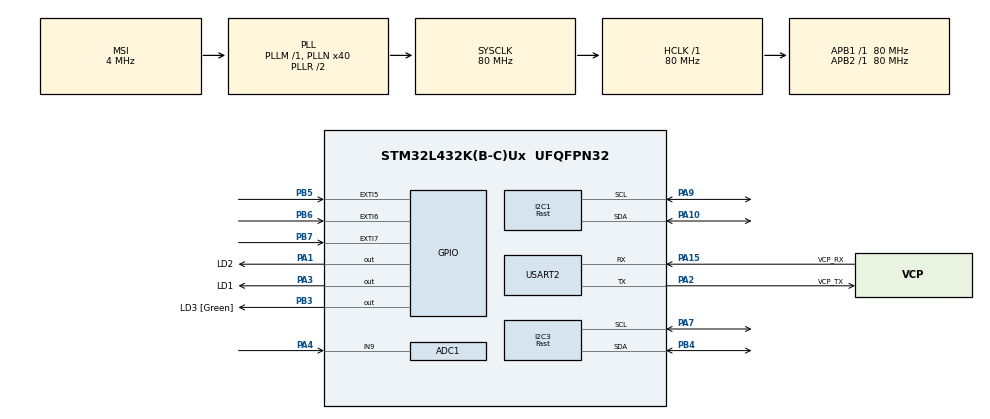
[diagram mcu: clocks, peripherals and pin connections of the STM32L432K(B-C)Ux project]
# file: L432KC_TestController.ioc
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ADC1.Channel-2\#ChannelRegularConversion=ADC_CHANNEL_9
ADC1.ClockPrescaler=ADC_CLOCK_ASYNC_DIV10
ADC1.EnableRegularConversion=ENABLE
ADC1.NbrOfConversionFlag=1
ADC1.OffsetNumber-2\#ChannelRegularConversion=ADC_OFFSET_NONE
ADC1.Rank-2\#ChannelRegularConversion=1
ADC1.SamplingTime-2\#ChannelRegularConversion=ADC_SAMPLETIME_2CYCLES_5
ADC1.master=1
Dma.Request0=USART2_RX
Dma.USART2_RX.0.Direction=DMA_PERIPH_TO_MEMORY
Dma.USART2_RX.0.Instance=DMA1_Channel6
Dma.USART2_RX.0.MemDataAlignment=DMA_MDATAALIGN_BYTE
Dma.USART2_RX.0.MemInc=DMA_MINC_ENABLE
Dma.USART2_RX.0.Mode=DMA_NORMAL
Dma.USART2_RX.0.PeriphDataAlignment=DMA_PDATAALIGN_BYTE
Dma.USART2_RX.0.PeriphInc=DMA_PINC_DISABLE
Dma.USART2_RX.0.Priority=DMA_PRIORITY_LOW
I2C1.I2C_Speed_Mode=I2C_Fast
I2C1.Timing=0x00702991
I2C3.I2C_Speed_Mode=I2C_Fast
I2C3.Timing=0x00702991
Mcu.Family=STM32L4
Mcu.Name=STM32L432K(B-C)Ux
Mcu.Package=UFQFPN32
NVIC.DMA1_Channel6_IRQn=true\:0\:0\:false\:false\:true\:false\:true\:true
NVIC.EXTI9_5_IRQn=true\:0\:0\:false\:false\:true\:true\:true\:true
NVIC.PriorityGroup=NVIC_PRIORITYGROUP_4
NVIC.USART2_IRQn=true\:0\:0\:false\:false\:true\:true\:true\:true
PA0.GPIO_Label=MCO [High speed clock in]
PA0.Mode=HSE-External-Clock-Source-for-LittleOrca
PA0.Signal=RCC_CK_IN
PA1.GPIO_Label=LD2
PA1.Signal=GPIO_Output
PA10.Mode=I2C
PA10.Signal=I2C1_SDA
PA13\ (JTMS-SWDIO).GPIO_Label=SWDIO
PA13\ (JTMS-SWDIO).Mode=Serial_Wire
PA13\ (JTMS-SWDIO).Signal=SYS_JTMS-SWDIO
PA14\ (JTCK-SWCLK).GPIO_Label=SWCLK
PA14\ (JTCK-SWCLK).Mode=Serial_Wire
PA14\ (JTCK-SWCLK).Signal=SYS_JTCK-SWCLK
PA15\ (JTDI).GPIO_Label=VCP_RX
PA15\ (JTDI).Mode=Asynchronous
PA15\ (JTDI).Signal=USART2_RX
PA2.GPIO_Label=VCP_TX
PA2.Mode=Asynchronous
PA2.Signal=USART2_TX
PA3.GPIO_Label=LD1
PA3.Signal=GPIO_Output
PA4.Signal=ADCx_IN9
PA7.Mode=I2C
PA7.Signal=I2C3_SCL
PA9.Mode=I2C
PA9.Signal=I2C1_SCL
PB3\ (JTDO-TRACESWO).GPIO_Label=LD3 [Green]
PB3\ (JTDO-TRACESWO).Signal=GPIO_Output
PB4\ (NJTRST).Mode=I2C
PB4\ (NJTRST).Signal=I2C3_SDA
PB5.Signal=GPXTI5
PB6.Signal=GPXTI6
PB7.GPIO_ModeDefaultEXTI=GPIO_MODE_IT_FALLING
PB7.GPIO_PuPd=GPIO_PULLUP
PB7.Signal=GPXTI7
PC14-OSC32_IN\ (PC14).Mode=LSE-External-Oscillator
PC14-OSC32_IN\ (PC14).Signal=RCC_OSC32_IN
PC15-OSC32_OUT\ (PC15).Mode=LSE-External-Oscillator
PC15-OSC32_OUT\ (PC15).Signal=RCC_OSC32_OUT
ProjectManager.HeapSize=0x200
ProjectManager.StackSize=0x400
ProjectManager.TargetToolchain=STM32CubeIDE
RCC.ADCFreq_Value=32000000
RCC.AHBFreq_Value=80000000
RCC.APB1Freq_Value=80000000
RCC.APB1TimFreq_Value=80000000
RCC.APB2Freq_Value=80000000
RCC.APB2TimFreq_Value=80000000
RCC.CortexFreq_Value=80000000
RCC.HCLKFreq_Value=80000000
RCC.HSE_VALUE=8000000
RCC.HSI16_VALUE=16000000
RCC.HSI48_VALUE=48000000
RCC.HSI_VALUE=16000000
RCC.MSI_VALUE=4000000
RCC.PLLMUL=RCC_PLLMUL_4
RCC.PLLN=40
RCC.PLLSAI1N=16
RCC.SYSCLKFreq_VALUE=80000000
RCC.SYSCLKSource=RCC_SYSCLKSOURCE_PLLCLK
RCC.USBFreq_Value=32000000
RCC.VCOOutputFreq_Value=160000000
SH.ADCx_IN9.0=ADC1_IN9,IN9-Single-Ended
USART2.VirtualMode-Asynchronous=VM_ASYNC
board=NUCLEO-L432KC

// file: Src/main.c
/* USER CODE BEGIN Header */
/* ========================================================================== *
 * FileName: main.c
 * Description: Main file for Click-Tester PC-Board.
 * Author: Matthias Timo Finding
 * Creation Date: Oct 6, 2023
 * Modified Date: Jan 23, 2024
 * Version: 1
 * ========================================================================== */

/* USER CODE END Header */
#include "main.h"

/* USER CODE BEGIN Includes */
#include <IO_control.h>
#include <IO_test.h>
#include <userInterface.h>
#include <stdio.h>
#include <stdbool.h>

/* USER CODE END Includes */

/* USER CODE BEGIN PD */

// UART rx buffer
char UART_RX_BUF[UART_RX_LEN];

// user interface input command
uint8_t UI_NEXT_CMD = 0;
uint8_t UI_ACT_FLAG = 0;

/* USER CODE END PD */

ADC_HandleTypeDef hadc1;

I2C_HandleTypeDef hi2c1;
I2C_HandleTypeDef hi2c3;

UART_HandleTypeDef huart2;
DMA_HandleTypeDef hdma_usart2_rx;

void SystemClock_Config(void);
static void MX_GPIO_Init(void);
static void MX_DMA_Init(void);
static void MX_USART2_UART_Init(void);
static void MX_ADC1_Init(void);
static void MX_I2C1_Init(void);
static void MX_I2C3_Init(void);
/* USER CODE BEGIN PFP */

/*--------- setup scanf/printf over UART2 (serial interface to PC) -----------*/
#ifdef __GNUC__
#define PUTCHAR_PROTOTYPE int __io_putchar(int ch)
#define GETCHAR_PROTOTYPE int __io_getchar(void)
#else
#define PUTCHAR_PROTOTYPE int fputc(int ch, FILE *f)
#define GETCHAR_PROTOTYPE int fgetc(FILE *f)
#endif

PUTCHAR_PROTOTYPE
{
  HAL_UART_Transmit(&huart2, (uint8_t *)&ch, 1, HAL_MAX_DELAY);
  return ch;
}

GETCHAR_PROTOTYPE
{
  uint8_t ch = 0;

  /* Clear the Overrun flag just before receiving the first character */
  __HAL_UART_CLEAR_OREFLAG(&huart2);

  /* Wait for reception of a character on the USART RX line and echo this
   * character on console */
  HAL_UART_Receive(&huart2, (uint8_t *)&ch, 1, HAL_MAX_DELAY);
  HAL_UART_Transmit(&huart2, (uint8_t *)&ch, 1, HAL_MAX_DELAY);
  return ch;
}
/*----------------------------------------------------------------------------*/

/* USER CODE END PFP */

int main(void)
{

  /* MCU Configuration--------------------------------------------------------*/

  /* Reset of all peripherals, Initializes the Flash interface and the Systick. */
  HAL_Init();

  /* USER CODE BEGIN Init */

  // disable stdio buffers to avoid UART miscommunications
  setvbuf(stdin, NULL, _IONBF, 0);

  /* USER CODE END Init */

  /* Configure the system clock */
  SystemClock_Config();

  /* Initialize all configured peripherals */
  MX_GPIO_Init();
  MX_DMA_Init();
  MX_USART2_UART_Init();
  MX_ADC1_Init();
  MX_I2C1_Init();
  MX_I2C3_Init();
  /* USER CODE BEGIN 2 */

	// UART receive to DMA setup

	// initial start of UART to DMA transaction
	HAL_UARTEx_ReceiveToIdle_DMA(&huart2, (uint8_t *)UART_RX_BUF, UART_RX_LEN);

	// disable half-transfer interrupt (DMA_IT_HT)
	__HAL_DMA_DISABLE_IT(&hdma_usart2_rx, DMA_IT_HT);

  /* USER CODE END 2 */

  /* Infinite loop */
  /* USER CODE BEGIN WHILE */

	// test sequence for GPIO extender evaluation
//	reset_io();
//	node_output_high(CB_L_GND_1);
//	node_output_low(CB_L_GND_1);
//	node_release(CB_L_GND_1);

	// test sequence for ADC evaluation
//	reset_io();
//	uint16_t adc_sample;
//	HAL_ADC_Start(&hadc1);
//	HAL_ADC_PollForConversion(&hadc1, 100);
//	adc_sample = HAL_ADC_GetValue(&hadc1);
//	HAL_ADC_Stop(&hadc1);
//	printf("ADC: %d\r\n", adc_sample);

	// test sequence for I2C evaluation
//	write_register(CB_L_3V3.addr, 0x04, 0xFF); // write FF to polarity inversion register
//	read_register(CB_L_3V3.addr, 0x04); // write FF to polarity inversion register
//	Error_Handler();

	// test sequence for GPIO evaluation
//	reset_io();
//	uint8_t base_address = 0b01100000;
//	node_t dummy_node = {"DUMMY", 0b00000000};
//	for(uint8_t i = 0; i<16; i++){
//		dummy_node.addr = base_address + i;
//		node_output_high(dummy_node);
//	}
//
//	for(uint8_t i = 0; i<16; i++){
//		dummy_node.addr = base_address + i;
//		node_output_low(dummy_node);
//	}
//	Error_Handler();

  // reset IO expanders
  reset_io();

  // deactivate Nucleo pwr
  node_output_low(MB_DUT_ENA);

  // print welcome message
  print_header();

	while (1)
	{

    /*-------------------------*
     *    main control loop    *
     *-------------------------*/

		if(UI_ACT_FLAG == 1){

      // reset flag
			UI_ACT_FLAG = 0;

      // execute command
			switch(UI_NEXT_CMD){

			case UI_EXEC_NUC:
        // reset error-led from previous test
        set_error_led(LED_OFF);
        // start requested test
				nuc_master_test();
        // re-start DMA-UART buffer after execution
				HAL_UARTEx_ReceiveToIdle_DMA(&huart2, (uint8_t *)UART_RX_BUF, UART_RX_LEN);
				break;

			case UI_EXEC_CB:
        // reset error-led from previous test
        set_error_led(LED_OFF);
        // start requested test
				cb_master_test();
        // re-start DMA-UART buffer after execution
				HAL_UARTEx_ReceiveToIdle_DMA(&huart2, (uint8_t *)UART_RX_BUF, UART_RX_LEN);
				break;

			case UI_EXEC_ALL:
        // reset error-led from previous test
        set_error_led(LED_OFF);
        // start requested test
				test_all();
        // re-start DMA-UART buffer after execution
				HAL_UARTEx_ReceiveToIdle_DMA(&huart2, (uint8_t *)UART_RX_BUF, UART_RX_LEN);
				break;

			default:
        // _NOP and restart DMA-UART buffer
				HAL_UARTEx_ReceiveToIdle_DMA(&huart2, (uint8_t *)UART_RX_BUF, UART_RX_LEN);
				break;
			}
		}

		/* USER CODE END WHILE */

	}
}

void SystemClock_Config(void)
{
  RCC_OscInitTypeDef RCC_OscInitStruct = {0};
  RCC_ClkInitTypeDef RCC_ClkInitStruct = {0};

  /** Configure the main internal regulator output voltage
  */
  if (HAL_PWREx_ControlVoltageScaling(PWR_REGULATOR_VOLTAGE_SCALE1) != HAL_OK)
  {
    Error_Handler();
  }

  /** Configure LSE Drive Capability
  */
  HAL_PWR_EnableBkUpAccess();
  __HAL_RCC_LSEDRIVE_CONFIG(RCC_LSEDRIVE_LOW);

  /** Initializes the RCC Oscillators according to the specified parameters
  * in the RCC_OscInitTypeDef structure.
  */
  RCC_OscInitStruct.OscillatorType = RCC_OSCILLATORTYPE_LSE|RCC_OSCILLATORTYPE_MSI;
  RCC_OscInitStruct.LSEState = RCC_LSE_ON;
  RCC_OscInitStruct.MSIState = RCC_MSI_ON;
  RCC_OscInitStruct.MSICalibrationValue = 0;
  RCC_OscInitStruct.MSIClockRange = RCC_MSIRANGE_6;
  RCC_OscInitStruct.PLL.PLLState = RCC_PLL_ON;
  RCC_OscInitStruct.PLL.PLLSource = RCC_PLLSOURCE_MSI;
  RCC_OscInitStruct.PLL.PLLM = 1;
  RCC_OscInitStruct.PLL.PLLN = 40;
  RCC_OscInitStruct.PLL.PLLP = RCC_PLLP_DIV7;
  RCC_OscInitStruct.PLL.PLLQ = RCC_PLLQ_DIV2;
  RCC_OscInitStruct.PLL.PLLR = RCC_PLLR_DIV2;
  if (HAL_RCC_OscConfig(&RCC_OscInitStruct) != HAL_OK)
  {
    Error_Handler();
  }

  /** Initializes the CPU, AHB and APB buses clocks
  */
  RCC_ClkInitStruct.ClockType = RCC_CLOCKTYPE_HCLK|RCC_CLOCKTYPE_SYSCLK
                              |RCC_CLOCKTYPE_PCLK1|RCC_CLOCKTYPE_PCLK2;
  RCC_ClkInitStruct.SYSCLKSource = RCC_SYSCLKSOURCE_PLLCLK;
  RCC_ClkInitStruct.AHBCLKDivider = RCC_SYSCLK_DIV1;
  RCC_ClkInitStruct.APB1CLKDivider = RCC_HCLK_DIV1;
  RCC_ClkInitStruct.APB2CLKDivider = RCC_HCLK_DIV1;

  if (HAL_RCC_ClockConfig(&RCC_ClkInitStruct, FLASH_LATENCY_4) != HAL_OK)
  {
    Error_Handler();
  }

  /** Enable MSI Auto calibration
  */
  HAL_RCCEx_EnableMSIPLLMode();
}

static void MX_ADC1_Init(void)
{

  ADC_ChannelConfTypeDef sConfig = {0};

  /** Common config
  */
  hadc1.Instance = ADC1;
  hadc1.Init.ClockPrescaler = ADC_CLOCK_ASYNC_DIV10;
  hadc1.Init.Resolution = ADC_RESOLUTION_12B;
  hadc1.Init.DataAlign = ADC_DATAALIGN_RIGHT;
  hadc1.Init.ScanConvMode = ADC_SCAN_DISABLE;
  hadc1.Init.EOCSelection = ADC_EOC_SINGLE_CONV;
  hadc1.Init.LowPowerAutoWait = DISABLE;
  hadc1.Init.ContinuousConvMode = DISABLE;
  hadc1.Init.NbrOfConversion = 1;
  hadc1.Init.DiscontinuousConvMode = DISABLE;
  hadc1.Init.ExternalTrigConv = ADC_SOFTWARE_START;
  hadc1.Init.ExternalTrigConvEdge = ADC_EXTERNALTRIGCONVEDGE_NONE;
  hadc1.Init.DMAContinuousRequests = DISABLE;
  hadc1.Init.Overrun = ADC_OVR_DATA_PRESERVED;
  hadc1.Init.OversamplingMode = DISABLE;
  if (HAL_ADC_Init(&hadc1) != HAL_OK)
  {
    Error_Handler();
  }

  /** Configure Regular Channel
  */
  sConfig.Channel = ADC_CHANNEL_9;
  sConfig.Rank = ADC_REGULAR_RANK_1;
  sConfig.SamplingTime = ADC_SAMPLETIME_2CYCLES_5;
  sConfig.SingleDiff = ADC_SINGLE_ENDED;
  sConfig.OffsetNumber = ADC_OFFSET_NONE;
  sConfig.Offset = 0;
  if (HAL_ADC_ConfigChannel(&hadc1, &sConfig) != HAL_OK)
  {
    Error_Handler();
  }

}

static void MX_I2C1_Init(void)
{

  hi2c1.Instance = I2C1;
  hi2c1.Init.Timing = 0x00702991;
  hi2c1.Init.OwnAddress1 = 0;
  hi2c1.Init.AddressingMode = I2C_ADDRESSINGMODE_7BIT;
  hi2c1.Init.DualAddressMode = I2C_DUALADDRESS_DISABLE;
  hi2c1.Init.OwnAddress2 = 0;
  hi2c1.Init.OwnAddress2Masks = I2C_OA2_NOMASK;
  hi2c1.Init.GeneralCallMode = I2C_GENERALCALL_DISABLE;
  hi2c1.Init.NoStretchMode = I2C_NOSTRETCH_DISABLE;
  if (HAL_I2C_Init(&hi2c1) != HAL_OK)
  {
    Error_Handler();
  }

  /** Configure Analogue filter
  */
  if (HAL_I2CEx_ConfigAnalogFilter(&hi2c1, I2C_ANALOGFILTER_ENABLE) != HAL_OK)
  {
    Error_Handler();
  }

  /** Configure Digital filter
  */
  if (HAL_I2CEx_ConfigDigitalFilter(&hi2c1, 0) != HAL_OK)
  {
    Error_Handler();
  }

}

static void MX_I2C3_Init(void)
{

  hi2c3.Instance = I2C3;
  hi2c3.Init.Timing = 0x00702991;
  hi2c3.Init.OwnAddress1 = 0;
  hi2c3.Init.AddressingMode = I2C_ADDRESSINGMODE_7BIT;
  hi2c3.Init.DualAddressMode = I2C_DUALADDRESS_DISABLE;
  hi2c3.Init.OwnAddress2 = 0;
  hi2c3.Init.OwnAddress2Masks = I2C_OA2_NOMASK;
  hi2c3.Init.GeneralCallMode = I2C_GENERALCALL_DISABLE;
  hi2c3.Init.NoStretchMode = I2C_NOSTRETCH_DISABLE;
  if (HAL_I2C_Init(&hi2c3) != HAL_OK)
  {
    Error_Handler();
  }

  /** Configure Analogue filter
  */
  if (HAL_I2CEx_ConfigAnalogFilter(&hi2c3, I2C_ANALOGFILTER_ENABLE) != HAL_OK)
  {
    Error_Handler();
  }

  /** Configure Digital filter
  */
  if (HAL_I2CEx_ConfigDigitalFilter(&hi2c3, 0) != HAL_OK)
  {
    Error_Handler();
  }

}

static void MX_USART2_UART_Init(void)
{

  huart2.Instance = USART2;
  huart2.Init.BaudRate = 115200;
  huart2.Init.WordLength = UART_WORDLENGTH_8B;
  huart2.Init.StopBits = UART_STOPBITS_1;
  huart2.Init.Parity = UART_PARITY_NONE;
  huart2.Init.Mode = UART_MODE_TX_RX;
  huart2.Init.HwFlowCtl = UART_HWCONTROL_NONE;
  huart2.Init.OverSampling = UART_OVERSAMPLING_16;
  huart2.Init.OneBitSampling = UART_ONE_BIT_SAMPLE_DISABLE;
  huart2.AdvancedInit.AdvFeatureInit = UART_ADVFEATURE_NO_INIT;
  if (HAL_UART_Init(&huart2) != HAL_OK)
  {
    Error_Handler();
  }

}

static void MX_DMA_Init(void)
{

  /* DMA controller clock enable */
  __HAL_RCC_DMA1_CLK_ENABLE();

  /* DMA interrupt init */
  /* DMA1_Channel6_IRQn interrupt configuration */
  HAL_NVIC_SetPriority(DMA1_Channel6_IRQn, 0, 0);
  HAL_NVIC_EnableIRQ(DMA1_Channel6_IRQn);

}

static void MX_GPIO_Init(void)
{
  GPIO_InitTypeDef GPIO_InitStruct = {0};

  /* GPIO Ports Clock Enable */
  __HAL_RCC_GPIOC_CLK_ENABLE();
  __HAL_RCC_GPIOA_CLK_ENABLE();
  __HAL_RCC_GPIOB_CLK_ENABLE();

  /*Configure GPIO pin Output Level */
  HAL_GPIO_WritePin(GPIOA, LD2_Pin|LD1_Pin, GPIO_PIN_RESET);

  /*Configure GPIO pin Output Level */
  HAL_GPIO_WritePin(LD3_GPIO_Port, LD3_Pin, GPIO_PIN_RESET);

  /*Configure GPIO pins : LD2_Pin LD1_Pin */
  GPIO_InitStruct.Pin = LD2_Pin|LD1_Pin;
  GPIO_InitStruct.Mode = GPIO_MODE_OUTPUT_PP;
  GPIO_InitStruct.Pull = GPIO_NOPULL;
  GPIO_InitStruct.Speed = GPIO_SPEED_FREQ_LOW;
  HAL_GPIO_Init(GPIOA, &GPIO_InitStruct);

  /*Configure GPIO pin : LD3_Pin */
  GPIO_InitStruct.Pin = LD3_Pin;
  GPIO_InitStruct.Mode = GPIO_MODE_OUTPUT_PP;
  GPIO_InitStruct.Pull = GPIO_NOPULL;
  GPIO_InitStruct.Speed = GPIO_SPEED_FREQ_LOW;
  HAL_GPIO_Init(LD3_GPIO_Port, &GPIO_InitStruct);

  /*Configure GPIO pins : PB5 PB6 */
  GPIO_InitStruct.Pin = GPIO_PIN_5|GPIO_PIN_6;
  GPIO_InitStruct.Mode = GPIO_MODE_IT_RISING;
  GPIO_InitStruct.Pull = GPIO_NOPULL;
  HAL_GPIO_Init(GPIOB, &GPIO_InitStruct);

  /*Configure GPIO pin : PB7 */
  GPIO_InitStruct.Pin = GPIO_PIN_7;
  GPIO_InitStruct.Mode = GPIO_MODE_IT_FALLING;
  GPIO_InitStruct.Pull = GPIO_PULLUP;
  HAL_GPIO_Init(GPIOB, &GPIO_InitStruct);

  /* EXTI interrupt init*/
  HAL_NVIC_SetPriority(EXTI9_5_IRQn, 0, 0);
  HAL_NVIC_EnableIRQ(EXTI9_5_IRQn);

}

/* USER CODE BEGIN 4 */

// user inputs via button or uart trigger system action interrupts

// user-button ISR handler
void HAL_GPIO_EXTI_Callback(uint16_t GPIO_Pin){
    if(GPIO_Pin == GPIO_PIN_7){

      // check for active-flag to avoid double execution
    	if(UI_ACT_FLAG != 1){

        // set flag to indicate new user-command
        UI_ACT_FLAG = 1;

        // get next operation from button-mapped command
        UI_NEXT_CMD = button_handler();
      }

    }
}

// UART IDLE or buffer-full interrupt handler
void HAL_UARTEx_RxEventCallback(UART_HandleTypeDef *huart, uint16_t Size){
	if (huart->Instance == USART2){

    // set flag to indicate new user-command
		UI_ACT_FLAG = 1;

    // get next operation from user command
		UI_NEXT_CMD = parse_input(UART_RX_BUF);
	}
}

/* USER CODE END 4 */

void Error_Handler(void)
{
  __disable_irq();
  while (1)
  {
  }
}
